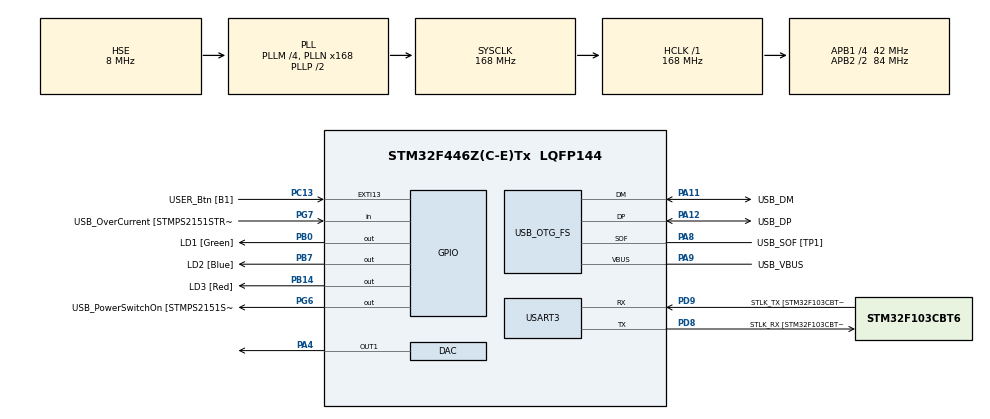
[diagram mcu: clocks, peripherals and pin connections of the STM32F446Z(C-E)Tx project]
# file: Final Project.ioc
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DAC.DAC_Trigger=DAC_TRIGGER_T2_TRGO
Dma.DAC1.0.Direction=DMA_MEMORY_TO_PERIPH
Dma.DAC1.0.FIFOMode=DMA_FIFOMODE_DISABLE
Dma.DAC1.0.Instance=DMA1_Stream5
Dma.DAC1.0.MemDataAlignment=DMA_MDATAALIGN_HALFWORD
Dma.DAC1.0.MemInc=DMA_MINC_ENABLE
Dma.DAC1.0.Mode=DMA_NORMAL
Dma.DAC1.0.PeriphDataAlignment=DMA_PDATAALIGN_HALFWORD
Dma.DAC1.0.PeriphInc=DMA_PINC_DISABLE
Dma.DAC1.0.Priority=DMA_PRIORITY_HIGH
Dma.Request0=DAC1
Mcu.Family=STM32F4
Mcu.Name=STM32F446Z(C-E)Tx
Mcu.Package=LQFP144
NVIC.DMA1_Stream5_IRQn=true\:0\:0\:false\:false\:true\:false\:true\:true
NVIC.PriorityGroup=NVIC_PRIORITYGROUP_4
PA10.GPIO_Label=USB_ID
PA10.Signal=USB_OTG_FS_ID
PA11.GPIO_Label=USB_DM
PA11.Mode=Device_Only
PA11.Signal=USB_OTG_FS_DM
PA12.GPIO_Label=USB_DP
PA12.Mode=Device_Only
PA12.Signal=USB_OTG_FS_DP
PA13.GPIO_Label=TMS
PA13.Mode=Serial_Wire
PA13.Signal=SYS_JTMS-SWDIO
PA14.GPIO_Label=TCK
PA14.Mode=Serial_Wire
PA14.Signal=SYS_JTCK-SWCLK
PA4.Signal=COMP_DAC1_group
PA8.GPIO_Label=USB_SOF [TP1]
PA8.Mode=Activate_SOF_FS
PA8.Signal=USB_OTG_FS_SOF
PA9.GPIO_Label=USB_VBUS
PA9.Mode=Activate_VBUS
PA9.Signal=USB_OTG_FS_VBUS
PB0.GPIO_Label=LD1 [Green]
PB0.Signal=GPIO_Output
PB14.GPIO_Label=LD3 [Red]
PB14.Signal=GPIO_Output
PB7.GPIO_Label=LD2 [Blue]
PB7.Signal=GPIO_Output
PC13.GPIO_Label=USER_Btn [B1]
PC13.Signal=GPXTI13
PC14-OSC32_IN.Mode=LSE-External-Oscillator
PC14-OSC32_IN.Signal=RCC_OSC32_IN
PC15-OSC32_OUT.Mode=LSE-External-Oscillator
PC15-OSC32_OUT.Signal=RCC_OSC32_OUT
PD8.GPIO_Label=STLK_RX [STM32F103CBT6_PA3]
PD8.Mode=Asynchronous
PD8.Signal=USART3_TX
PD9.GPIO_Label=STLK_TX [STM32F103CBT6_PA2]
PD9.Mode=Asynchronous
PD9.Signal=USART3_RX
PG6.GPIO_Label=USB_PowerSwitchOn [STMPS2151STR_EN]
PG6.Signal=GPIO_Output
PG7.GPIO_Label=USB_OverCurrent [STMPS2151STR_FAULT]
PG7.Signal=GPIO_Input
PH0-OSC_IN.GPIO_Label=MCO [STM32F103CBT6_PA8]
PH0-OSC_IN.Mode=HSE-External-Clock-Source
PH0-OSC_IN.Signal=RCC_OSC_IN
PH1-OSC_OUT.Mode=HSE-External-Clock-Source
PH1-OSC_OUT.Signal=RCC_OSC_OUT
ProjectManager.HeapSize=0x200
ProjectManager.StackSize=0x400
ProjectManager.TargetToolchain=STM32CubeIDE
RCC.48MHZClocksFreq_Value=24000000
RCC.AHBFreq_Value=168000000
RCC.APB1CLKDivider=RCC_HCLK_DIV4
RCC.APB1Freq_Value=42000000
RCC.APB1TimFreq_Value=84000000
RCC.APB2CLKDivider=RCC_HCLK_DIV2
RCC.APB2Freq_Value=84000000
RCC.APB2TimFreq_Value=168000000
RCC.CortexFreq_Value=168000000
RCC.HCLKFreq_Value=168000000
RCC.HSE_VALUE=8000000
RCC.HSI_VALUE=16000000
RCC.PLLM=4
RCC.PLLMUL=RCC_PLL_MUL9
RCC.PLLN=168
RCC.PLLQ=7
RCC.PRESCALERUSB=RCC_USBCLKSOURCE_PLL_DIV1_5
RCC.SYSCLKFreq_VALUE=168000000
RCC.SYSCLKSource=RCC_SYSCLKSOURCE_PLLCLK
RCC.SYSCLKSourceVirtual=RCC_SYSCLKSOURCE_PLLCLK
RCC.USBFreq_Value=48000000
RCC.VCOOutputFreq_Value=336000000
SH.COMP_DAC1_group.0=DAC_OUT1,DAC_OUT1
TIM2.Period=2799
TIM2.Prescaler=5
TIM2.TIM_MasterOutputTrigger=TIM_TRGO_UPDATE
USART3.VirtualMode=VM_ASYNC
USB_OTG_FS.VirtualMode=Device_Only
VP_TIM2_VS_ClockSourceINT.Mode=Internal
board=NUCLEO-F446ZE

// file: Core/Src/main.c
/* USER CODE BEGIN Header */
/**
  ******************************************************************************
  * @file           : main.c
  * @brief          : Main program body
  ******************************************************************************
  * @attention
  *
  * Copyright (c) 2023 STMicroelectronics.
  * All rights reserved.
  *
  * This software is licensed under terms that can be found in the LICENSE file
  * in the root directory of this software component.
  * If no LICENSE file comes with this software, it is provided AS-IS.
  *
  ******************************************************************************
  */
/* USER CODE END Header */
#include "main.h"

/* USER CODE BEGIN Includes */
#include <string.h>
/* USER CODE END Includes */

/* USER CODE BEGIN PD */
#define NS  5
#define BYTES 13
#define TRANSMISSIONLENGTH (BYTES*8)*NS //Change to include preamble and what not
/* USER CODE END PD */

DAC_HandleTypeDef hdac;
DMA_HandleTypeDef hdma_dac1;

TIM_HandleTypeDef htim2;

UART_HandleTypeDef huart3;

PCD_HandleTypeDef hpcd_USB_OTG_FS;

/* USER CODE BEGIN PV */
/*
uint32_t Wave_LUT[NS] = {2048, 2460, 2855, 3217, 3532, 3785, 3968, 4071, 4092, 4030, 3886, 3667, 3381, 3041, 2660,
		2255, 1840, 1435, 1054, 714, 428, 209, 65, 3, 24, 127, 310, 563, 878, 1240,
		1635, 2047
};*/

/*int16_t triangle[NS] = {0, 44, 88, 132, 175, 219, 263, 307, 351, 395, 439, 482, 526, 570, 614,
		658, 702, 745, 789, 833, 877, 921, 965, 1009, 1052, 1096, 1140, 1184, 1228, 1272,
		1316, 1359, 1403, 1447, 1491, 1535, 1579, 1622, 1666, 1710, 1754, 1798, 1798, 1754, 1710,
		1666, 1622, 1579, 1535, 1491, 1447, 1403, 1359, 1316, 1272, 1228, 1184, 1140, 1096, 1052,
		1009, 965, 921, 877, 833, 789, 745, 702, 658, 614, 570, 526, 482, 439, 395,
		351, 307, 263, 219, 175, 132, 88, 44, 0
};*/

int8_t get_bit(uint8_t, char);
int16_t transmission[TRANSMISSIONLENGTH/NS][NS];

uint8_t flag = 1;
/* USER CODE END PV */

void SystemClock_Config(void);
static void MX_GPIO_Init(void);
static void MX_DMA_Init(void);
static void MX_USART3_UART_Init(void);
static void MX_USB_OTG_FS_PCD_Init(void);
static void MX_DAC_Init(void);
static void MX_TIM2_Init(void);

int main(void)
{

  /* MCU Configuration--------------------------------------------------------*/

  /* Reset of all peripherals, Initializes the Flash interface and the Systick. */
  HAL_Init();

  /* Configure the system clock */
  SystemClock_Config();

  /* Initialize all configured peripherals */
  MX_GPIO_Init();
  MX_DMA_Init();
  MX_USART3_UART_Init();
  MX_USB_OTG_FS_PCD_Init();
  MX_DAC_Init();
  MX_TIM2_Init();
  /* USER CODE BEGIN 2 */
  char message[BYTES] = {0b00111011, 'H', 'e', 'l', 'l', 'o', ' ', 'W', 'o', 'r', 'l', 'd', '!'};
  //Load Preamble
  /*
  for(int i = 0; i < 8; i++){
	  for(int j = 0; j < NS; j++){
		  transmission[i][j] = get_bit(i, (uint8_t)169)*4000;//triangle[j] + 2048;
	  }
  }

  //Load data type
  for(int i = 0; i < 2; i++){
	  for(int j = 0; j < NS; j++){
		  transmission[i+8][j] = get_bit(i, (uint8_t)1)*4000;//triangle[j] + 2048;
	  }
  }*/

  //Load payload
  for(int i = 0; i < BYTES*8; i++){
	  for(int j = 0; j < NS; j++){
		  transmission[i][j] = get_bit(i%8, message[i/8])*4000;//*triangle[j] + 2048; //triangle[i%NS]
	  }
  }

  /* USER CODE END 2 */

  /* Infinite loop */
  while (1)
  {

    /* USER CODE BEGIN 3 */
	HAL_DAC_Start_DMA(&hdac, DAC_CHANNEL_1, (uint32_t*)transmission, TRANSMISSIONLENGTH, DAC_ALIGN_12B_R);
	  HAL_TIM_Base_Start(&htim2);
	  while(HAL_DAC_GetState(&hdac) != HAL_DAC_STATE_READY)HAL_Delay(1);
	  HAL_Delay(3000);

  }
  /* USER CODE END 3 */
}

void SystemClock_Config(void)
{
  RCC_OscInitTypeDef RCC_OscInitStruct = {0};
  RCC_ClkInitTypeDef RCC_ClkInitStruct = {0};

  /** Configure the main internal regulator output voltage
  */
  __HAL_RCC_PWR_CLK_ENABLE();
  __HAL_PWR_VOLTAGESCALING_CONFIG(PWR_REGULATOR_VOLTAGE_SCALE1);

  /** Initializes the RCC Oscillators according to the specified parameters
  * in the RCC_OscInitTypeDef structure.
  */
  RCC_OscInitStruct.OscillatorType = RCC_OSCILLATORTYPE_HSE;
  RCC_OscInitStruct.HSEState = RCC_HSE_BYPASS;
  RCC_OscInitStruct.PLL.PLLState = RCC_PLL_ON;
  RCC_OscInitStruct.PLL.PLLSource = RCC_PLLSOURCE_HSE;
  RCC_OscInitStruct.PLL.PLLM = 4;
  RCC_OscInitStruct.PLL.PLLN = 168;
  RCC_OscInitStruct.PLL.PLLP = RCC_PLLP_DIV2;
  RCC_OscInitStruct.PLL.PLLQ = 7;
  RCC_OscInitStruct.PLL.PLLR = 2;
  if (HAL_RCC_OscConfig(&RCC_OscInitStruct) != HAL_OK)
  {
    Error_Handler();
  }

  /** Initializes the CPU, AHB and APB buses clocks
  */
  RCC_ClkInitStruct.ClockType = RCC_CLOCKTYPE_HCLK|RCC_CLOCKTYPE_SYSCLK
                              |RCC_CLOCKTYPE_PCLK1|RCC_CLOCKTYPE_PCLK2;
  RCC_ClkInitStruct.SYSCLKSource = RCC_SYSCLKSOURCE_PLLCLK;
  RCC_ClkInitStruct.AHBCLKDivider = RCC_SYSCLK_DIV1;
  RCC_ClkInitStruct.APB1CLKDivider = RCC_HCLK_DIV4;
  RCC_ClkInitStruct.APB2CLKDivider = RCC_HCLK_DIV2;

  if (HAL_RCC_ClockConfig(&RCC_ClkInitStruct, FLASH_LATENCY_5) != HAL_OK)
  {
    Error_Handler();
  }
}

static void MX_DAC_Init(void)
{

  DAC_ChannelConfTypeDef sConfig = {0};

  /** DAC Initialization
  */
  hdac.Instance = DAC;
  if (HAL_DAC_Init(&hdac) != HAL_OK)
  {
    Error_Handler();
  }

  /** DAC channel OUT1 config
  */
  sConfig.DAC_Trigger = DAC_TRIGGER_T2_TRGO;
  sConfig.DAC_OutputBuffer = DAC_OUTPUTBUFFER_ENABLE;
  if (HAL_DAC_ConfigChannel(&hdac, &sConfig, DAC_CHANNEL_1) != HAL_OK)
  {
    Error_Handler();
  }

}

static void MX_TIM2_Init(void)
{

  TIM_ClockConfigTypeDef sClockSourceConfig = {0};
  TIM_MasterConfigTypeDef sMasterConfig = {0};

  htim2.Instance = TIM2;
  htim2.Init.Prescaler = 5;
  htim2.Init.CounterMode = TIM_COUNTERMODE_UP;
  htim2.Init.Period = 2799;
  htim2.Init.ClockDivision = TIM_CLOCKDIVISION_DIV1;
  htim2.Init.AutoReloadPreload = TIM_AUTORELOAD_PRELOAD_DISABLE;
  if (HAL_TIM_Base_Init(&htim2) != HAL_OK)
  {
    Error_Handler();
  }
  sClockSourceConfig.ClockSource = TIM_CLOCKSOURCE_INTERNAL;
  if (HAL_TIM_ConfigClockSource(&htim2, &sClockSourceConfig) != HAL_OK)
  {
    Error_Handler();
  }
  sMasterConfig.MasterOutputTrigger = TIM_TRGO_UPDATE;
  sMasterConfig.MasterSlaveMode = TIM_MASTERSLAVEMODE_DISABLE;
  if (HAL_TIMEx_MasterConfigSynchronization(&htim2, &sMasterConfig) != HAL_OK)
  {
    Error_Handler();
  }

}

static void MX_USART3_UART_Init(void)
{

  huart3.Instance = USART3;
  huart3.Init.BaudRate = 115200;
  huart3.Init.WordLength = UART_WORDLENGTH_8B;
  huart3.Init.StopBits = UART_STOPBITS_1;
  huart3.Init.Parity = UART_PARITY_NONE;
  huart3.Init.Mode = UART_MODE_TX_RX;
  huart3.Init.HwFlowCtl = UART_HWCONTROL_NONE;
  huart3.Init.OverSampling = UART_OVERSAMPLING_16;
  if (HAL_UART_Init(&huart3) != HAL_OK)
  {
    Error_Handler();
  }

}

static void MX_USB_OTG_FS_PCD_Init(void)
{

  hpcd_USB_OTG_FS.Instance = USB_OTG_FS;
  hpcd_USB_OTG_FS.Init.dev_endpoints = 6;
  hpcd_USB_OTG_FS.Init.speed = PCD_SPEED_FULL;
  hpcd_USB_OTG_FS.Init.dma_enable = DISABLE;
  hpcd_USB_OTG_FS.Init.phy_itface = PCD_PHY_EMBEDDED;
  hpcd_USB_OTG_FS.Init.Sof_enable = ENABLE;
  hpcd_USB_OTG_FS.Init.low_power_enable = DISABLE;
  hpcd_USB_OTG_FS.Init.lpm_enable = DISABLE;
  hpcd_USB_OTG_FS.Init.vbus_sensing_enable = ENABLE;
  hpcd_USB_OTG_FS.Init.use_dedicated_ep1 = DISABLE;
  if (HAL_PCD_Init(&hpcd_USB_OTG_FS) != HAL_OK)
  {
    Error_Handler();
  }

}

static void MX_DMA_Init(void)
{

  /* DMA controller clock enable */
  __HAL_RCC_DMA1_CLK_ENABLE();

  /* DMA interrupt init */
  /* DMA1_Stream5_IRQn interrupt configuration */
  HAL_NVIC_SetPriority(DMA1_Stream5_IRQn, 0, 0);
  HAL_NVIC_EnableIRQ(DMA1_Stream5_IRQn);

}

static void MX_GPIO_Init(void)
{
  GPIO_InitTypeDef GPIO_InitStruct = {0};

  /* GPIO Ports Clock Enable */
  __HAL_RCC_GPIOC_CLK_ENABLE();
  __HAL_RCC_GPIOH_CLK_ENABLE();
  __HAL_RCC_GPIOA_CLK_ENABLE();
  __HAL_RCC_GPIOB_CLK_ENABLE();
  __HAL_RCC_GPIOD_CLK_ENABLE();
  __HAL_RCC_GPIOG_CLK_ENABLE();

  /*Configure GPIO pin Output Level */
  HAL_GPIO_WritePin(GPIOB, LD1_Pin|LD3_Pin|LD2_Pin, GPIO_PIN_RESET);

  /*Configure GPIO pin Output Level */
  HAL_GPIO_WritePin(USB_PowerSwitchOn_GPIO_Port, USB_PowerSwitchOn_Pin, GPIO_PIN_RESET);

  /*Configure GPIO pin : USER_Btn_Pin */
  GPIO_InitStruct.Pin = USER_Btn_Pin;
  GPIO_InitStruct.Mode = GPIO_MODE_IT_RISING;
  GPIO_InitStruct.Pull = GPIO_NOPULL;
  HAL_GPIO_Init(USER_Btn_GPIO_Port, &GPIO_InitStruct);

  /*Configure GPIO pins : LD1_Pin LD3_Pin LD2_Pin */
  GPIO_InitStruct.Pin = LD1_Pin|LD3_Pin|LD2_Pin;
  GPIO_InitStruct.Mode = GPIO_MODE_OUTPUT_PP;
  GPIO_InitStruct.Pull = GPIO_NOPULL;
  GPIO_InitStruct.Speed = GPIO_SPEED_FREQ_LOW;
  HAL_GPIO_Init(GPIOB, &GPIO_InitStruct);

  /*Configure GPIO pin : USB_PowerSwitchOn_Pin */
  GPIO_InitStruct.Pin = USB_PowerSwitchOn_Pin;
  GPIO_InitStruct.Mode = GPIO_MODE_OUTPUT_PP;
  GPIO_InitStruct.Pull = GPIO_NOPULL;
  GPIO_InitStruct.Speed = GPIO_SPEED_FREQ_LOW;
  HAL_GPIO_Init(USB_PowerSwitchOn_GPIO_Port, &GPIO_InitStruct);

  /*Configure GPIO pin : USB_OverCurrent_Pin */
  GPIO_InitStruct.Pin = USB_OverCurrent_Pin;
  GPIO_InitStruct.Mode = GPIO_MODE_INPUT;
  GPIO_InitStruct.Pull = GPIO_NOPULL;
  HAL_GPIO_Init(USB_OverCurrent_GPIO_Port, &GPIO_InitStruct);

}

/* USER CODE BEGIN 4 */
int8_t get_bit(uint8_t index, char letter){
	if((1 << index) & letter){
		return 1;
	}

	return 0;
}

/* USER CODE END 4 */

void Error_Handler(void)
{
  __disable_irq();
  while (1)
  {
  }
}
